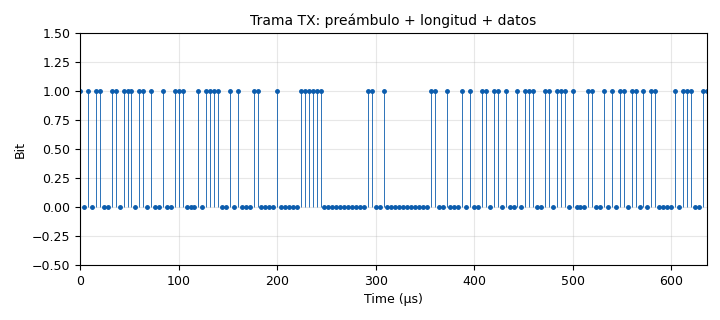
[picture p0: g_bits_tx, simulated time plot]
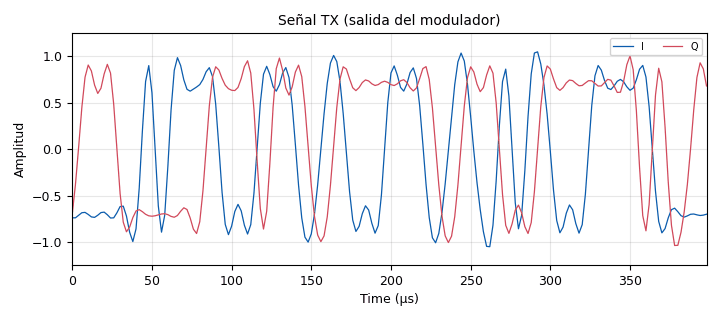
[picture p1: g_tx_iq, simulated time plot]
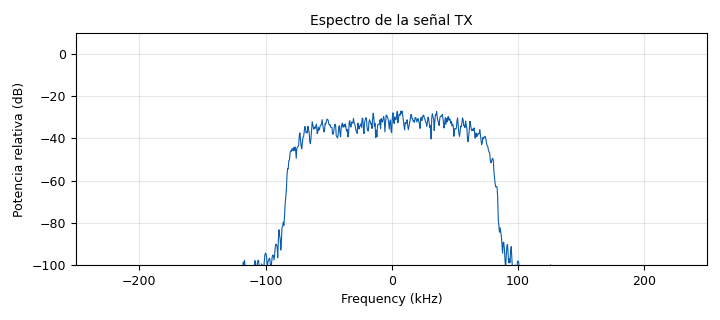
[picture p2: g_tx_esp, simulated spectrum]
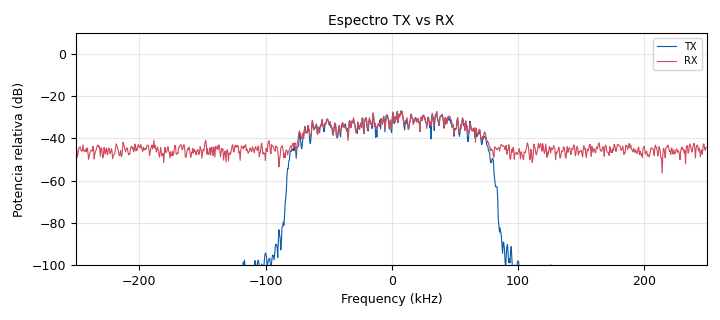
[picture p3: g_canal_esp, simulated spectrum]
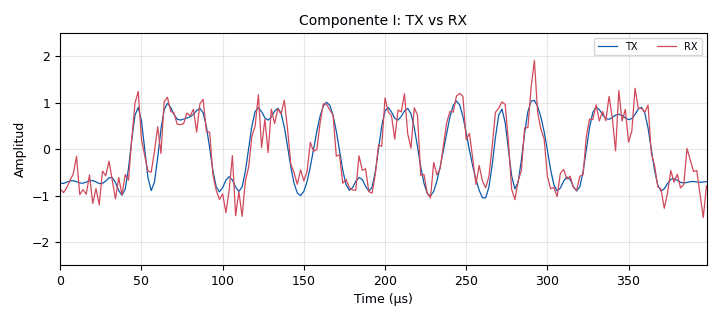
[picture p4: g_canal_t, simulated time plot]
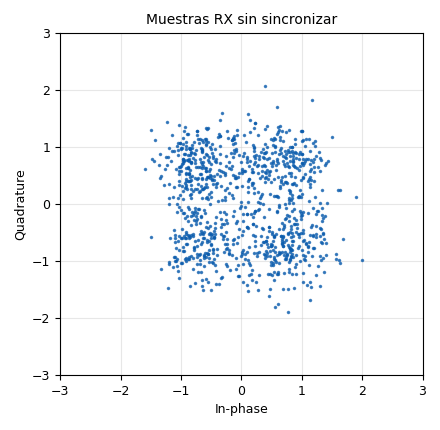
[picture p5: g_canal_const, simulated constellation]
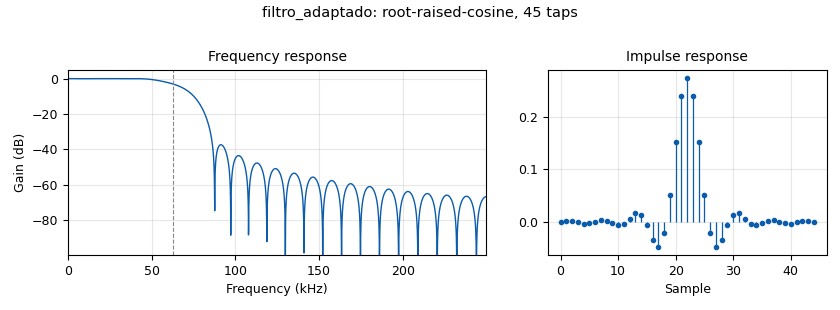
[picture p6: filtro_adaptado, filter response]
options:
  parameters:
    author: Juan Gerez
    description: Enlace 4-QAM con tramas (preámbulo + longitud + CRC-32) y medición de BER, solo bloques estándar de GNU Radio
    generate_options: qt_gui
    id: enlace_4qam_tramas
    output_language: python
    title: Enlace 4-QAM con tramas y BER (bloques estándar)
  states: {}

blocks:
- name: imports
  id: import
  parameters:
    imports: import math, cmath
  states: {}
- name: samp_rate
  id: variable
  parameters:
    comment: Frecuencia de muestreo [muestras/s]
    value: '500000'
  states: {}
- name: sps
  id: variable
  parameters:
    comment: Muestras por símbolo
    value: '4'
  states: {}
- name: excess_bw
  id: variable
  parameters:
    comment: Factor de roll-off del filtro RRC
    value: '0.35'
  states: {}
- name: mensaje
  id: variable
  parameters:
    comment: Texto que viaja en el payload de cada trama
    value: '"Sistemas de Comunicaciones Digitales - FACET UNT - enlace 4-QAM half-duplex en GNU Radio!!!!!!!!"'
  states: {}
- name: payload
  id: variable
  parameters:
    comment: Payload como lista de bytes
    value: list(mensaje.encode())
  states: {}
- name: L
  id: variable
  parameters:
    comment: Bytes de payload por trama
    value: len(payload)
  states: {}
- name: bits_trama
  id: variable
  parameters:
    comment: Preámbulo 64 b + longitud 2x16 b + payload + CRC-32
    value: 8*(8 + 4 + L + 4)
  states: {}
- name: qpsk
  id: variable_constellation_rect
  parameters:
    const_points: '[-0.707-0.707j, 0.707-0.707j, +0.707+0.707j, -0.707+0.707j]'
    sym_map: '[0, 1, 3, 2]'
    rot_sym: '4'
    real_sect: '2'
    imag_sect: '2'
    w_real_sect: '1'
    w_imag_sect: '1'
  states: {}
- name: formato_trama
  id: variable_header_format_default
  parameters:
    access_code: '0'
    threshold: '0'
    bps: '1'
  states: {}
- name: umbral
  id: variable
  parameters:
    comment: Bits erróneos tolerados al buscar el preámbulo de 64 bits
    value: '12'
  states: {}
- name: ruido
  id: variable
  parameters:
    comment: 'Desvío del ruido complejo: potencia de señal = 1 por muestra, Es/N0 = 2 Eb/N0'
    value: math.sqrt(sps / (2 * 10**(ebn0_db / 10)))
  states: {}
- name: p_qpsk
  id: variable
  parameters:
    comment: 'Q(raiz(2 Eb/N0)): 4-QAM coherente'
    value: 0.5 * math.erfc(math.sqrt(10**(ebn0_db / 10)))
  states: {}
- name: ber_teo
  id: variable
  parameters:
    comment: '4-QAM con codificación diferencial: 2p(1-p)'
    value: 2 * p_qpsk * (1 - p_qpsk)
  states: {}
- name: ventana
  id: variable
  parameters:
    comment: Bits de la ventana del BER 'reciente'
    value: '1000000'
  states: {}
- name: ebn0_db
  id: variable_qtgui_range
  parameters:
    label: Eb/N0 [dB]
    value: '10'
    start: '0'
    stop: '15'
    step: '0.5'
    min_len: '150'
    gui_hint: 0,0,1,2
  states: {}
- name: fase_deg
  id: variable_qtgui_range
  parameters:
    label: Fase del canal [°]
    value: '0'
    start: '-180'
    stop: '180'
    step: '1'
    min_len: '150'
    gui_hint: 0,2,1,2
  states: {}
- name: cfo_hz
  id: variable_qtgui_range
  parameters:
    label: CFO [Hz]
    value: '0'
    start: '-1000'
    stop: '1000'
    step: '10'
    min_len: '150'
    gui_hint: 0,4,1,2
  states: {}
- name: costas_bw
  id: variable_qtgui_range
  parameters:
    label: BW lazo de Costas
    value: '0.005'
    start: '0.001'
    stop: '0.1'
    step: '0.001'
    widget: counter
    min_len: '100'
    gui_hint: 1,0,1,1
  states: {}
- name: sync_bw
  id: variable_qtgui_range
  parameters:
    label: BW sinc. de símbolo
    value: '0.01'
    start: '0.001'
    stop: '0.1'
    step: '0.001'
    widget: counter
    min_len: '100'
    gui_hint: 1,1,1,1
  states: {}
- name: lbl_teo
  id: variable_qtgui_label
  parameters:
    label: 'BER teórico: '
    type: real
    value: ber_teo
    formatter: 'lambda x: ''%.2e'' % x'
    gui_hint: 1,2,1,1
  states: {}
- name: ber_acum_log
  id: variable_function_probe
  parameters:
    block_id: sonda_ber_acum
    function_name: level
    poll_rate: '4'
    value: '0'
  states: {}
- name: ber_rec
  id: variable_function_probe
  parameters:
    block_id: sonda_ber_ventana
    function_name: level
    poll_rate: '4'
    value: '0'
  states: {}
- name: lbl_acum
  id: variable_qtgui_label
  parameters:
    label: 'BER medido (acum.): '
    type: real
    value: 10**ber_acum_log
    formatter: 'lambda x: ''%.2e'' % x'
    gui_hint: 1,3,1,1
  states: {}
- name: lbl_rec
  id: variable_qtgui_label
  parameters:
    label: 'BER medido (último Mbit): '
    type: real
    value: ber_rec
    formatter: 'lambda x: ''%.2e'' % x'
    gui_hint: 1,4,1,1
  states: {}
- name: lbl_ratio
  id: variable_qtgui_label
  parameters:
    label: 'Medido (último Mbit) / teórico: '
    type: real
    value: ber_rec / ber_teo
    formatter: 'lambda x: ''%.2f'' % x'
    gui_hint: 1,5,1,1
  states: {}
- name: pestanas
  id: qtgui_tab_widget
  parameters:
    num_tabs: '3'
    gui_hint: 2,0,1,6
    label0: 1. Transmisor y canal
    label1: '2. Receptor: filtro adaptado y sincronismo'
    label2: 3. Tramas, bits y BER
  states: {}
- name: nota_tx
  id: note
  parameters:
    note: 'TRANSMISOR: payload (mensaje) -> CRC-32 -> encabezado [preámbulo 64 b | longitud | longitud] -> modulador 4-QAM diferencial con filtro RRC'
  states: {}
- name: fuente
  id: blocks_vector_source_x
  parameters:
    type: byte
    vector: payload
    repeat: 'True'
  states: {}
- name: a_paquetes
  id: blocks_stream_to_tagged_stream
  parameters:
    type: byte
    packet_len: L
    len_tag_key: '"packet_len"'
  states: {}
- name: crc_tx
  id: digital_crc32_bb
  parameters:
    check: 'False'
    lengthtagname: '"packet_len"'
    packed: 'True'
  states: {}
- name: encabezado
  id: digital_protocol_formatter_bb
  parameters:
    format: formato_trama
    len_tag_key: '"packet_len"'
  states: {}
- name: trama
  id: blocks_tagged_stream_mux
  parameters:
    type: byte
    ninputs: '2'
    lengthtagname: '"packet_len"'
  states: {}
- name: modulador
  id: digital_constellation_modulator
  parameters:
    constellation: qpsk
    differential: 'True'
    samples_per_symbol: sps
    excess_bw: excess_bw
  states: {}
- name: acelerador
  id: blocks_throttle2
  parameters:
    type: complex
    samples_per_second: samp_rate
  states: {}
- name: vs_tx
  id: virtual_sink
  parameters:
    stream_id: senal_tx
  states: {}
- name: bits_tx_unpack
  id: blocks_unpack_k_bits_bb
  parameters:
    k: '8'
  states: {}
- name: bits_tx_float
  id: blocks_char_to_float
  parameters:
    scale: '1'
  states: {}
- name: g_bits_tx
  id: qtgui_time_sink_x
  parameters:
    type: float
    name: '"Trama TX: preámbulo + longitud + datos"'
    gui_hint: 'pestanas@0: 0,0,1,1'
    size: '160'
    srate: samp_rate/sps*2
    ymin: '-0.5'
    ymax: '1.5'
    ylabel: Bit
    grid: 'True'
    legend: 'False'
    stemplot: 'True'
    tr_mode: qtgui.TRIG_MODE_TAG
    tr_tag: '"packet_len"'
    label1: Bits transmitidos
  states: {}
- name: vsrc_tx_g
  id: virtual_source
  parameters:
    stream_id: senal_tx
  states: {}
- name: g_tx_iq
  id: qtgui_time_sink_x
  parameters:
    type: complex
    name: '"Señal TX (salida del modulador)"'
    gui_hint: 'pestanas@0: 0,1,1,1'
    size: '200'
    srate: samp_rate
    ymin: '-1.25'
    ymax: '1.25'
    ylabel: Amplitud
    grid: 'True'
    label1: I
    label2: Q
  states: {}
- name: g_tx_esp
  id: qtgui_freq_sink_x
  parameters:
    type: complex
    name: '"Espectro de la señal TX"'
    gui_hint: 'pestanas@0: 0,2,1,1'
    fftsize: '1024'
    fc: '0'
    bw: samp_rate
    average: '0.2'
    grid: 'True'
    legend: 'False'
    label: '"Potencia relativa"'
    ymin: '-100'
    label1: TX
  states: {}
- name: nota_canal
  id: note
  parameters:
    note: 'CANAL: rotación de fase + desvío de frecuencia (Rotator) + ruido gaussiano (Noise Source). No se usa ''Channel Model'' porque reutiliza solo 16384 valores de ruido (BER falso a Eb/N0 alto).'
  states: {}
- name: vsrc_tx_ch
  id: virtual_source
  parameters:
    stream_id: senal_tx
  states: {}
- name: fase
  id: blocks_multiply_const_vxx
  parameters:
    type: complex
    const: cmath.exp(1j * math.radians(fase_deg))
  states: {}
- name: cfo
  id: blocks_rotator_cc
  parameters:
    phase_inc: 2 * math.pi * cfo_hz / samp_rate
  states: {}
- name: ruido_awgn
  id: analog_noise_source_x
  parameters:
    type: complex
    noise_type: analog.GR_GAUSSIAN
    amp: ruido
    seed: '0'
  states: {}
- name: suma_ruido
  id: blocks_add_xx
  parameters:
    type: complex
  states: {}
- name: vs_rx
  id: virtual_sink
  parameters:
    stream_id: senal_rx
  states: {}
- name: vsrc_rx_g
  id: virtual_source
  parameters:
    stream_id: senal_rx
  states: {}
- name: vsrc_tx_g2
  id: virtual_source
  parameters:
    stream_id: senal_tx
  states: {}
- name: g_canal_esp
  id: qtgui_freq_sink_x
  parameters:
    type: complex
    name: '"Espectro TX vs RX"'
    gui_hint: 'pestanas@0: 1,1,1,1'
    nconnections: '2'
    fftsize: '1024'
    fc: '0'
    bw: samp_rate
    average: '0.2'
    grid: 'True'
    label: '"Potencia relativa"'
    ymin: '-100'
    label1: TX
    label2: RX
  states: {}
- name: tx_re
  id: blocks_complex_to_real
  parameters: {}
  states: {}
- name: rx_re
  id: blocks_complex_to_real
  parameters: {}
  states: {}
- name: g_canal_t
  id: qtgui_time_sink_x
  parameters:
    type: float
    name: '"Componente I: TX vs RX"'
    gui_hint: 'pestanas@0: 1,0,1,1'
    nconnections: '2'
    size: '200'
    srate: samp_rate
    ymin: '-2.5'
    ymax: '2.5'
    ylabel: Amplitud
    grid: 'True'
    label1: TX
    label2: RX
  states: {}
- name: g_canal_const
  id: qtgui_const_sink_x
  parameters:
    type: complex
    name: '"Muestras RX sin sincronizar"'
    gui_hint: 'pestanas@0: 1,2,1,1'
    size: '1024'
    xmin: '-3'
    xmax: '3'
    ymin: '-3'
    ymax: '3'
    grid: 'True'
    legend: 'False'
    label1: RX
    alpha1: '0.6'
  states: {}
- name: nota_rx
  id: note
  parameters:
    note: 'RECEPTOR: filtro adaptado RRC -> sincronismo de símbolo -> lazo de Costas (fase y frecuencia) -> decisión 4-QAM -> decodificación diferencial -> bits'
  states: {}
- name: vsrc_rx
  id: virtual_source
  parameters:
    stream_id: senal_rx
  states: {}
- name: filtro_adaptado
  id: filter_fft_rrc_filter
  parameters:
    type: ccc
    decim: '1'
    gain: '1'
    samp_rate: samp_rate
    sym_rate: samp_rate/sps
    alpha: excess_bw
    ntaps: 11*sps
  states: {}
- name: sinc_simbolo
  id: digital_symbol_sync_xx
  parameters:
    type: cc
    ted_type: digital.TED_SIGNAL_TIMES_SLOPE_ML
    sps: sps
    ted_gain: '1.0'
    loop_bw: sync_bw
    damping: '1.0'
    max_dev: '1.5'
    osps: '1'
    resamp_type: digital.IR_MMSE_8TAP
  states: {}
- name: costas
  id: digital_costas_loop_cc
  parameters:
    w: costas_bw
    order: '4'
  states: {}
- name: decisor
  id: digital_constellation_decoder_cb
  parameters:
    constellation: qpsk
  states: {}
- name: dec_diferencial
  id: digital_diff_decoder_bb
  parameters:
    coding: digital.DIFF_DIFFERENTIAL
    modulus: '4'
  states: {}
- name: mapa_gray
  id: digital_map_bb
  parameters:
    map: '[0, 1, 3, 2]'
  states: {}
- name: a_bits
  id: blocks_unpack_k_bits_bb
  parameters:
    k: '2'
  states: {}
- name: vs_bits_rx
  id: virtual_sink
  parameters:
    stream_id: bits_rx
  states: {}
- name: ojo_interp
  id: rational_resampler_xxx
  parameters:
    type: ccc
    interp: '4'
    decim: '1'
  states: {}
- name: mf_re
  id: blocks_complex_to_real
  parameters: {}
  states: {}
- name: g_ojo
  id: qtgui_eye_sink_x
  parameters:
    type: float
    name: '"Ojo de la componente I (antes de Costas)"'
    gui_hint: 'pestanas@1: 0,1,1,1'
    size: '2048'
    samp_per_symbol: 4*sps
    srate: 4*samp_rate
    ymin: '-1.5'
    ymax: '1.5'
    ylabel: '"Amplitud"'
    grid: 'True'
    entags: 'False'
    label1: Ojo de la componente I (antes de Costas)
    alpha1: '0.5'
  states: {}
- name: g_mf_t
  id: qtgui_time_sink_x
  parameters:
    type: complex
    name: '"Salida del filtro adaptado"'
    gui_hint: 'pestanas@1: 0,0,1,1'
    size: '160'
    srate: samp_rate
    ymin: '-1.25'
    ymax: '1.25'
    ylabel: Amplitud
    grid: 'True'
    label1: I
    label2: Q
  states: {}
- name: g_sync_const
  id: qtgui_const_sink_x
  parameters:
    type: complex
    name: '"Constelación antes y después de Costas"'
    gui_hint: 'pestanas@1: 1,0,1,1'
    nconnections: '2'
    size: '1024'
    xmin: '-1.5'
    xmax: '1.5'
    ymin: '-1.5'
    ymax: '1.5'
    grid: 'True'
    label1: Antes
    alpha1: '0.6'
    label2: Después
    alpha2: '0.6'
  states: {}
- name: sinc_err_null
  id: blocks_null_sink
  parameters:
    type: float
  states: {}
- name: g_periodo
  id: qtgui_time_sink_x
  parameters:
    type: float
    name: '"Período de símbolo estimado [muestras]"'
    gui_hint: 'pestanas@1: 0,2,1,1'
    nconnections: '2'
    size: '2000'
    srate: samp_rate/sps
    ymin: '3.5'
    ymax: '4.5'
    ylabel: Muestras
    grid: 'True'
    entags: 'False'
    label1: Instantáneo
    label2: Promedio
  states: {}
- name: frec_hz
  id: blocks_multiply_const_vxx
  parameters:
    type: float
    const: samp_rate / sps / (2 * math.pi)
  states: {}
- name: cfo_real
  id: analog_sig_source_x
  parameters:
    type: float
    samp_rate: samp_rate/sps
    waveform: analog.GR_CONST_WAVE
    freq: '0'
    amp: cfo_hz
    offset: '0'
    phase: '0'
  states: {}
- name: g_frec
  id: qtgui_time_sink_x
  parameters:
    type: float
    name: '"Frecuencia de Costas vs CFO [Hz]"'
    gui_hint: 'pestanas@1: 1,1,1,1'
    nconnections: '2'
    size: '2000'
    srate: samp_rate/sps
    ymin: '-1100'
    ymax: '1100'
    ylabel: Hz
    grid: 'True'
    entags: 'False'
    label1: Costas
    label2: CFO canal
  states: {}
- name: costas_re
  id: blocks_complex_to_real
  parameters: {}
  states: {}
- name: g_histograma
  id: qtgui_histogram_sink_x
  parameters:
    type: float
    name: '"Histograma de I tras Costas"'
    gui_hint: 'pestanas@1: 1,2,1,1'
    size: '4000'
    bins: '120'
    grid: 'True'
    xmin: '-1.5'
    xmax: '1.5'
    update_time: '0.20'
    legend: 'False'
    label1: Componente I
  states: {}
- name: nota_tramas
  id: note
  parameters:
    note: 'TRAMAS: busca el preámbulo, lee la longitud (2 copias iguales) y entrega el payload; el CRC-32 descarta las tramas con errores. ''Min Output Buffer'' grande: una longitud dañada no cuelga el flujo.'
  states: {}
- name: vsrc_bits_1
  id: virtual_source
  parameters:
    stream_id: bits_rx
  states: {}
- name: detector_trama
  id: digital_correlate_access_code_xx_ts
  parameters:
    minoutbuf: '600000'
    type: byte
    access_code: digital.packet_utils.default_access_code
    threshold: umbral
    tagname: '"packet_len"'
  states: {}
- name: a_bytes
  id: blocks_repack_bits_bb
  parameters:
    minoutbuf: '70000'
    k: '1'
    l: '8'
    len_tag_key: '"packet_len"'
    align_output: 'True'
    endianness: gr.GR_MSB_FIRST
  states: {}
- name: crc_rx
  id: digital_crc32_bb
  parameters:
    minoutbuf: '70000'
    check: 'True'
    lengthtagname: '"packet_len"'
    packed: 'True'
  states: {}
- name: a_pdu
  id: pdu_tagged_stream_to_pdu
  parameters:
    type: byte
    tag: '"packet_len"'
  states: {}
- name: consola
  id: blocks_message_debug
  parameters: {}
  states: {state: disabled}
- name: una_de_cien
  id: blocks_keep_m_in_n
  parameters:
    type: byte
    m: L
    n: 100*L
    offset: '0'
  states: {}
- name: archivo_mensajes
  id: blocks_file_sink
  parameters:
    type: byte
    file: '"mensajes_recibidos.txt"'
    unbuffered: 'True'
  states: {}
- name: payload_float
  id: blocks_char_to_float
  parameters:
    scale: '1'
  states: {}
- name: g_payload
  id: qtgui_time_sink_x
  parameters:
    type: float
    name: '"Payload del detector de tramas"'
    gui_hint: 'pestanas@2: 0,1,1,1'
    size: 2 * 8 * (L + 4)
    srate: samp_rate/sps*2
    ymin: '-0.5'
    ymax: '1.5'
    ylabel: Bit
    grid: 'True'
    legend: 'False'
    label1: Payload + CRC
  states: {}
- name: nota_ber
  id: note
  parameters:
    note: 'BER: se alinea el flujo recibido con el primer preámbulo (Tag + Tagged Stream Align) y se compara bit a bit (XOR) con una copia del transmisor. Todas las tramas son iguales y van una tras otra.'
  states: {}
- name: vsrc_bits_2
  id: virtual_source
  parameters:
    stream_id: bits_rx
  states: {}
- name: marca_preambulo
  id: digital_correlate_access_code_tag_xx
  parameters:
    type: byte
    access_code: digital.packet_utils.default_access_code
    threshold: umbral
    tagname: '"inicio_trama"'
  states: {}
- name: alinear
  id: blocks_tagged_stream_align
  parameters:
    type: byte
    lengthtagname: '"inicio_trama"'
  states: {}
- name: ref_fuente
  id: blocks_vector_source_x
  parameters:
    type: byte
    vector: payload
    repeat: 'True'
  states: {}
- name: ref_paquetes
  id: blocks_stream_to_tagged_stream
  parameters:
    type: byte
    packet_len: L
    len_tag_key: '"packet_len"'
  states: {}
- name: ref_crc
  id: digital_crc32_bb
  parameters:
    check: 'False'
    lengthtagname: '"packet_len"'
    packed: 'True'
  states: {}
- name: ref_encabezado
  id: digital_protocol_formatter_bb
  parameters:
    format: formato_trama
    len_tag_key: '"packet_len"'
  states: {}
- name: ref_trama
  id: blocks_tagged_stream_mux
  parameters:
    type: byte
    ninputs: '2'
    lengthtagname: '"packet_len"'
  states: {}
- name: ref_bits
  id: blocks_unpack_k_bits_bb
  parameters:
    k: '8'
  states: {}
- name: ref_saltar_preambulo
  id: blocks_skiphead
  parameters:
    type: byte
    num_items: '64'
  states: {}
- name: comparar
  id: blocks_xor_xx
  parameters:
    type: byte
  states: {}
- name: errores_float
  id: blocks_char_to_float
  parameters:
    scale: '1'
  states: {}
- name: ber_ventana
  id: blocks_moving_average_xx
  parameters:
    type: float
    length: ventana
    scale: 1.0/ventana
    max_iter: '4000'
  states: {}
- name: sonda_ber_ventana
  id: blocks_probe_signal_x
  parameters:
    type: float
  states: {}
- name: submuestreo
  id: blocks_keep_one_in_n
  parameters:
    type: float
    n: '1000'
  states: {}
- name: log_ber
  id: blocks_nlog10_ff
  parameters:
    k: '0'
  states: {}
- name: log_teo
  id: analog_sig_source_x
  parameters:
    type: float
    samp_rate: samp_rate/sps*2/1000
    waveform: analog.GR_CONST_WAVE
    freq: '0'
    amp: math.log10(ber_teo)
    offset: '0'
    phase: '0'
  states: {}
- name: g_ber_t
  id: qtgui_time_sink_x
  parameters:
    type: float
    name: '"log10(BER): medido vs teórico"'
    gui_hint: 'pestanas@2: 1,0,1,1'
    nconnections: '2'
    size: '500'
    srate: samp_rate/sps*2/1000
    ymin: '-6'
    ymax: '0'
    ylabel: log10(BER)
    grid: 'True'
    entags: 'False'
    label1: Medido (último Mbit)
    label2: Teórico
  states: {}
- name: rx_bytes_ber
  id: blocks_repack_bits_bb
  parameters:
    k: '1'
    l: '8'
    endianness: gr.GR_MSB_FIRST
  states: {}
- name: ref_bytes_ber
  id: blocks_repack_bits_bb
  parameters:
    k: '1'
    l: '8'
    endianness: gr.GR_MSB_FIRST
  states: {}
- name: medidor_ber
  id: fec_ber_bf
  parameters:
    test_mode: 'False'
  states: {}
- name: sonda_ber_acum
  id: blocks_probe_signal_x
  parameters:
    type: float
  states: {}
- name: g_ber_num
  id: qtgui_number_sink
  parameters:
    type: float
    name: '"log10(BER) acumulado"'
    gui_hint: 'pestanas@2: 1,1,1,1'
    min: '-7'
    max: '0'
    graph_type: qtgui.NUM_GRAPH_HORIZ
    update_time: '0.20'
    label1: Acumulado
  states: {}
- name: rx_bit_float
  id: blocks_char_to_float
  parameters:
    scale: '1'
  states: {}
- name: ref_bit_float
  id: blocks_char_to_float
  parameters:
    scale: '1'
  states: {}
- name: ref_desplazar
  id: blocks_add_const_vxx
  parameters:
    type: float
    const: '1.5'
  states: {}
- name: g_bits
  id: qtgui_time_sink_x
  parameters:
    type: float
    name: '"Bits RX vs TX (+1,5) y errores"'
    gui_hint: 'pestanas@2: 0,0,1,1'
    nconnections: '3'
    size: '200'
    srate: samp_rate/sps*2
    ymax: '4'
    ylabel: Bit
    grid: 'True'
    entags: 'False'
    label1: RX
    label2: TX (+1,5)
    label3: Errores
  states: {}

connections:
- [fuente, '0', a_paquetes, '0']
- [a_paquetes, '0', crc_tx, '0']
- [crc_tx, '0', encabezado, '0']
- [crc_tx, '0', trama, '1']
- [encabezado, '0', trama, '0']
- [trama, '0', modulador, '0']
- [modulador, '0', acelerador, '0']
- [acelerador, '0', vs_tx, '0']
- [trama, '0', bits_tx_unpack, '0']
- [bits_tx_unpack, '0', bits_tx_float, '0']
- [bits_tx_float, '0', g_bits_tx, '0']
- [vsrc_tx_g, '0', g_tx_iq, '0']
- [vsrc_tx_g, '0', g_tx_esp, '0']
- [vsrc_tx_ch, '0', fase, '0']
- [fase, '0', cfo, '0']
- [cfo, '0', suma_ruido, '0']
- [ruido_awgn, '0', suma_ruido, '1']
- [suma_ruido, '0', vs_rx, '0']
- [vsrc_tx_g2, '0', g_canal_esp, '0']
- [vsrc_rx_g, '0', g_canal_esp, '1']
- [vsrc_tx_g2, '0', tx_re, '0']
- [vsrc_rx_g, '0', rx_re, '0']
- [tx_re, '0', g_canal_t, '0']
- [rx_re, '0', g_canal_t, '1']
- [vsrc_rx_g, '0', g_canal_const, '0']
- [vsrc_rx, '0', filtro_adaptado, '0']
- [filtro_adaptado, '0', sinc_simbolo, '0']
- [sinc_simbolo, '0', costas, '0']
- [costas, '0', decisor, '0']
- [decisor, '0', dec_diferencial, '0']
- [dec_diferencial, '0', mapa_gray, '0']
- [mapa_gray, '0', a_bits, '0']
- [a_bits, '0', vs_bits_rx, '0']
- [filtro_adaptado, '0', ojo_interp, '0']
- [ojo_interp, '0', mf_re, '0']
- [mf_re, '0', g_ojo, '0']
- [filtro_adaptado, '0', g_mf_t, '0']
- [sinc_simbolo, '0', g_sync_const, '0']
- [costas, '0', g_sync_const, '1']
- [sinc_simbolo, '1', sinc_err_null, '0']
- [sinc_simbolo, '2', g_periodo, '0']
- [sinc_simbolo, '3', g_periodo, '1']
- [costas, '1', frec_hz, '0']
- [frec_hz, '0', g_frec, '0']
- [cfo_real, '0', g_frec, '1']
- [costas, '0', costas_re, '0']
- [costas_re, '0', g_histograma, '0']
- [vsrc_bits_1, '0', detector_trama, '0']
- [detector_trama, '0', a_bytes, '0']
- [a_bytes, '0', crc_rx, '0']
- [crc_rx, '0', una_de_cien, '0']
- [una_de_cien, '0', archivo_mensajes, '0']
- [crc_rx, '0', a_pdu, '0']
- [a_pdu, pdus, consola, print]
- [detector_trama, '0', payload_float, '0']
- [payload_float, '0', g_payload, '0']
- [vsrc_bits_2, '0', marca_preambulo, '0']
- [marca_preambulo, '0', alinear, '0']
- [ref_fuente, '0', ref_paquetes, '0']
- [ref_paquetes, '0', ref_crc, '0']
- [ref_crc, '0', ref_encabezado, '0']
- [ref_crc, '0', ref_trama, '1']
- [ref_encabezado, '0', ref_trama, '0']
- [ref_trama, '0', ref_bits, '0']
- [ref_bits, '0', ref_saltar_preambulo, '0']
- [alinear, '0', comparar, '0']
- [ref_saltar_preambulo, '0', comparar, '1']
- [comparar, '0', errores_float, '0']
- [errores_float, '0', ber_ventana, '0']
- [ber_ventana, '0', sonda_ber_ventana, '0']
- [ber_ventana, '0', submuestreo, '0']
- [submuestreo, '0', log_ber, '0']
- [log_ber, '0', g_ber_t, '0']
- [log_teo, '0', g_ber_t, '1']
- [alinear, '0', rx_bytes_ber, '0']
- [ref_saltar_preambulo, '0', ref_bytes_ber, '0']
- [rx_bytes_ber, '0', medidor_ber, '0']
- [ref_bytes_ber, '0', medidor_ber, '1']
- [medidor_ber, '0', sonda_ber_acum, '0']
- [medidor_ber, '0', g_ber_num, '0']
- [alinear, '0', rx_bit_float, '0']
- [ref_saltar_preambulo, '0', ref_bit_float, '0']
- [ref_bit_float, '0', ref_desplazar, '0']
- [rx_bit_float, '0', g_bits, '0']
- [ref_desplazar, '0', g_bits, '1']
- [errores_float, '0', g_bits, '2']

metadata:
  file_format: 1
  grc_version: 3.10.12.0
